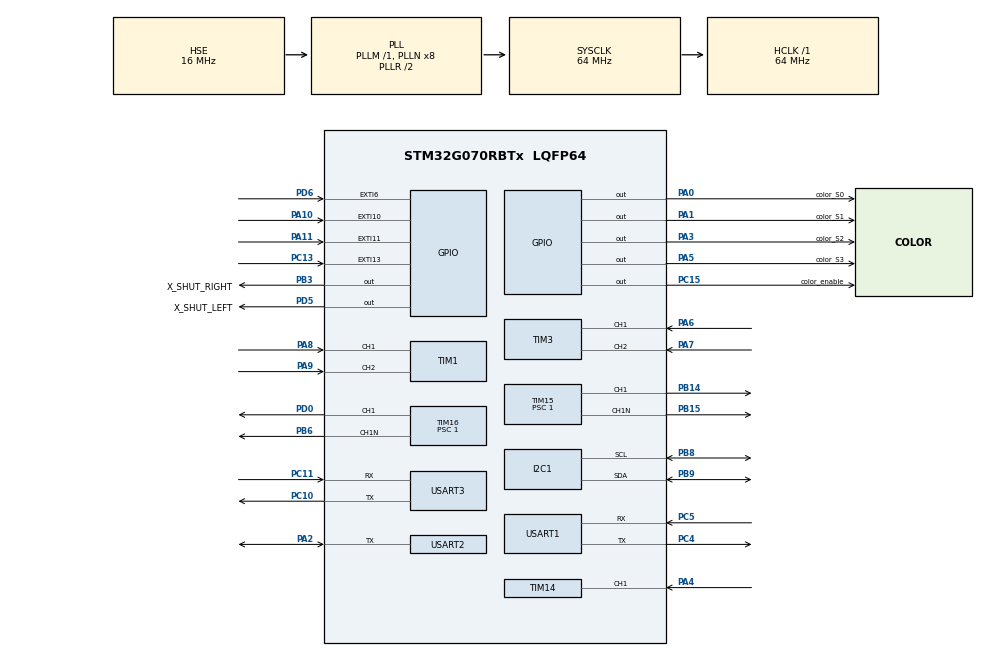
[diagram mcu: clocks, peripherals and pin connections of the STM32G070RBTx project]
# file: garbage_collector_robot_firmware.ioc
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FREERTOS.Tasks01=defaultTask,0,128,StartDefaultTask,Default,NULL,Dynamic,NULL,NULL
FREERTOS.configGENERATE_RUN_TIME_STATS=1
FREERTOS.configTOTAL_HEAP_SIZE=16384
FREERTOS.configUSE_STATS_FORMATTING_FUNCTIONS=1
FREERTOS.configUSE_TIMERS=0
FREERTOS.configUSE_TRACE_FACILITY=1
I2C1.Timing=0x10707DBC
Mcu.Family=STM32G0
Mcu.Name=STM32G070RBTx
Mcu.Package=LQFP64
NVIC.EXTI4_15_IRQn=true\:3\:0\:true\:false\:true\:true\:true\:true\:true
NVIC.TIM14_IRQn=true\:3\:0\:true\:false\:true\:false\:true\:true\:true
NVIC.TIM17_IRQn=true\:3\:0\:false\:false\:true\:true\:true\:true\:true
NVIC.TIM6_IRQn=true\:0\:0\:true\:false\:true\:false\:false\:true\:true
NVIC.TIM7_IRQn=true\:3\:0\:false\:false\:true\:true\:true\:true\:true
NVIC.TimeBase=TIM6_IRQn
NVIC.TimeBaseIP=TIM6
NVIC.USART1_IRQn=true\:3\:0\:false\:false\:true\:true\:true\:true\:true
NVIC.USART2_IRQn=true\:3\:0\:false\:false\:true\:true\:true\:true\:true
PA0.GPIO_Label=color_S0
PA0.Signal=GPIO_Output
PA1.GPIO_Label=color_S1
PA1.Signal=GPIO_Output
PA10.GPIO_ModeDefaultEXTI=GPIO_MODE_IT_RISING_FALLING
PA10.GPIO_PuPd=GPIO_PULLUP
PA10.Signal=GPXTI10
PA11\ [PA9].GPIO_ModeDefaultEXTI=GPIO_MODE_IT_RISING_FALLING
PA11\ [PA9].GPIO_PuPd=GPIO_PULLUP
PA11\ [PA9].Signal=GPXTI11
PA13.Mode=Serial_Wire
PA13.Signal=SYS_SWDIO
PA14-BOOT0.Mode=Serial_Wire
PA14-BOOT0.Signal=SYS_SWCLK
PA2.Mode=Half_duplex(single_wire_mode)
PA2.Signal=USART2_TX
PA3.GPIO_Label=color_S2
PA3.Signal=GPIO_Output
PA4.Signal=S_TIM14_CH1
PA5.GPIO_Label=color_S3
PA5.Signal=GPIO_Output
PA6.Signal=S_TIM3_CH1
PA7.Signal=S_TIM3_CH2
PA8.Signal=S_TIM1_CH1
PA9.Signal=S_TIM1_CH2
PB14.Signal=S_TIM15_CH1
PB15.Mode=PWM Generation1 CH1 CH1N
PB15.Signal=TIM15_CH1N
PB3.GPIO_Label=X_SHUT_RIGHT
PB3.PinState=GPIO_PIN_RESET
PB3.Signal=GPIO_Output
PB6.Mode=PWM Generation1 CH1 CH1N
PB6.Signal=TIM16_CH1N
PB8.Mode=I2C
PB8.Signal=I2C1_SCL
PB9.Mode=I2C
PB9.Signal=I2C1_SDA
PC10.Mode=Asynchronous
PC10.Signal=USART3_TX
PC11.Mode=Asynchronous
PC11.Signal=USART3_RX
PC13.GPIO_ModeDefaultEXTI=GPIO_MODE_IT_RISING
PC13.GPIO_PuPd=GPIO_PULLDOWN
PC13.Signal=GPXTI13
PC15-OSC32_OUT\ (PC15).GPIO_Label=color_enable
PC15-OSC32_OUT\ (PC15).Signal=GPIO_Output
PC4.Mode=Asynchronous
PC4.Signal=USART1_TX
PC5.Mode=Asynchronous
PC5.Signal=USART1_RX
PD0.Signal=S_TIM16_CH1
PD5.GPIO_Label=X_SHUT_LEFT
PD5.Signal=GPIO_Output
PD6.GPIO_ModeDefaultEXTI=GPIO_MODE_IT_RISING
PD6.GPIO_PuPd=GPIO_NOPULL
PD6.Signal=GPXTI6
PF0-OSC_IN\ (PF0).Mode=HSE-External-Oscillator
PF0-OSC_IN\ (PF0).Signal=RCC_OSC_IN
PF1-OSC_OUT\ (PF1).Mode=HSE-External-Oscillator
PF1-OSC_OUT\ (PF1).Signal=RCC_OSC_OUT
ProjectManager.HeapSize=0x200
ProjectManager.StackSize=0x600
ProjectManager.TargetToolchain=STM32CubeIDE
RCC.ADCFreq_Value=64000000
RCC.AHBFreq_Value=64000000
RCC.CortexFreq_Value=64000000
RCC.EXTERNAL_CLOCK_VALUE=48000
RCC.HCLKFreq_Value=64000000
RCC.HSE_VALUE=16000000
RCC.HSI_VALUE=16000000
RCC.LSE_VALUE=32768
RCC.PLLSourceVirtual=RCC_PLLSOURCE_HSE
RCC.SYSCLKFreq_VALUE=64000000
RCC.SYSCLKSource=RCC_SYSCLKSOURCE_PLLCLK
RCC.VCOOutputFreq_Value=128000000
SH.S_TIM14_CH1.0=TIM14_CH1,Input_Capture1_from_TI1
SH.S_TIM15_CH1.0=TIM15_CH1,PWM Generation1 CH1 CH1N
SH.S_TIM16_CH1.0=TIM16_CH1,PWM Generation1 CH1 CH1N
SH.S_TIM1_CH1.0=TIM1_CH1,Encoder_Interface
SH.S_TIM1_CH2.0=TIM1_CH2,Encoder_Interface
SH.S_TIM3_CH1.0=TIM3_CH1,Encoder_Interface
SH.S_TIM3_CH2.0=TIM3_CH2,Encoder_Interface
TIM1.EncoderMode=TIM_ENCODERMODE_TI12
TIM14.Channel=TIM_CHANNEL_1
TIM14.Period=64000-1
TIM14.Prescaler=100-1
TIM15.AutoReloadPreload=TIM_AUTORELOAD_PRELOAD_ENABLE
TIM15.Channel-PWM\ Generation1\ CH1\ CH1N=TIM_CHANNEL_1
TIM15.Period=1499
TIM15.Prescaler=1
TIM16.AutoReloadPreload=TIM_AUTORELOAD_PRELOAD_ENABLE
TIM16.Channel=TIM_CHANNEL_1
TIM16.Period=1499
TIM16.Prescaler=1
TIM17.Period=20000
TIM17.Prescaler=1000
TIM3.EncoderMode=TIM_ENCODERMODE_TI12
TIM7.Period=5000
TIM7.Prescaler=64
USART1.SwapParam=ADVFEATURE_SWAP_ENABLE
USART1.VirtualMode-Asynchronous=VM_ASYNC
USART2.BaudRate=1000000
USART2.VirtualMode-Half_duplex(single_wire_mode)=VM_ASYNC
USART3.VirtualMode-Asynchronous=VM_ASYNC
VP_FREERTOS_VS_CMSIS_V1.Mode=CMSIS_V1
VP_SYS_VS_tim6.Mode=TIM6
VP_TIM14_VS_ClockSourceINT.Mode=Enable_Timer
VP_TIM15_VS_ClockSourceINT.Mode=Internal
VP_TIM16_VS_ClockSourceINT.Mode=Enable_Timer
VP_TIM17_VS_ClockSourceINT.Mode=Enable_Timer
VP_TIM7_VS_ClockSourceINT.Mode=Enable_Timer
board=custom

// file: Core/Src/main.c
/* USER CODE BEGIN Header */
/**
 ******************************************************************************
 * @file           : main.c
 * @brief          : Main program body
 ******************************************************************************
 * @attention
 *
 * Copyright (c) 2022 STMicroelectronics.
 * All rights reserved.
 *
 * This software is licensed under terms that can be found in the LICENSE file
 * in the root directory of this software component.
 * If no LICENSE file comes with this software, it is provided AS-IS.
 *
 ******************************************************************************
 */
/* USER CODE END Header */
#include "main.h"
#include "cmsis_os.h"
#include "i2c.h"
#include "tim.h"
#include "usart.h"
#include "gpio.h"

/* USER CODE BEGIN Includes */
#include <stdio.h>
#include <stdlib.h>
#include "uart_drv.h"
#include "shell.h"
#include "FreeRTOS.h"
#include "zxbm_driver.h"
#include "drv_timer.h"
#include "xl320_driver.h"
#include "control_loop.h"
#include "robot.h"
#include "Capteur_TOF.h"
#include <vl53l0x_api.h>
#include "color_sensor.h"
/* USER CODE END Includes */

/* USER CODE BEGIN PD */
#define STACK_DEPTH					500
/* USER CODE END PD */

/* USER CODE BEGIN PV */
h_shell_t g_shell;

h_zxbm_t g_rightMotor;
h_zxbm_t g_leftMotor;

h_speedControlLoop_t g_rightControlLoop;
h_speedControlLoop_t g_leftControlLoop;

h_robot_t robot;

XL320_t xl320;

h_color_sensor_t color_sensor1;

/******************************************************************************/
VL53L0X_RangingMeasurementData_t rightTofStruct;		    //C'est une structure avec des mesures.
VL53L0X_Dev_t  rightTofDev; 							//C'est la structure de l'appareil. 						//C'est un pointeur vers la structure d'avant.

VL53L0X_RangingMeasurementData_t leftTofStruct;		    //C'est une structure avec des mesures.
VL53L0X_Dev_t  leftTofDev; 							//C'est la structure de l'appareil. 						//C'est un pointeur vers la structure d'avant.

//uint8_t Message[64];
//uint8_t MessageLen;

// VL53L0X initialization stuff
// besoin de quelques variables d'assistance pour l'initialisation
uint32_t rightRefSpadCount;
uint8_t rightIsApertureSpads;
uint8_t rightVhvSettings;
uint8_t rightPhaseCal;

uint32_t leftRefSpadCount;
uint8_t leftIsApertureSpads;
uint8_t leftVhvSettings;
uint8_t leftPhaseCal;

//uint16_t distance=0;
VL53L0X_Error rightError2;
VL53L0X_Error leftError2;

int leftDist =0, rightDist = 0;
/* USER CODE END PV */

void SystemClock_Config(void);
void MX_FREERTOS_Init(void);
/* USER CODE BEGIN PFP */
int __io_putchar(int ch) {
	HAL_UART_Transmit(&huart1, (uint8_t *)&ch, 1, HAL_MAX_DELAY);
	HAL_UART_Transmit(&huart3, (uint8_t *)&ch, 1, HAL_MAX_DELAY);
	return ch;
}

int __io_getchar(void){
	uint8_t ch = 0;

	/* Clear the Overrun flag just before receiving the first character */
	__HAL_UART_CLEAR_OREFLAG(&huart1);

	/* Wait for reception of a character on the USART RX line and echo this
	 * character on console */
	HAL_UART_Receive(&huart1, (uint8_t *)&ch, 1, HAL_MAX_DELAY);
	HAL_UART_Transmit(&huart1, (uint8_t *)&ch, 1, HAL_MAX_DELAY);
	return ch;
}

static void tofTask(void * unused){
	while(1){
		robot.leftDist = vl53l0x_PerformRangingMeasurement(&rightTofDev,&rightTofStruct);
		robot.rightDist = vl53l0x_PerformRangingMeasurement(&leftTofDev,&leftTofStruct);

		//printf("%d\t %d\r\n", vl53l0x_PerformRangingMeasurement(&rightTofDev,&rightTofStruct), vl53l0x_PerformRangingMeasurement(&leftTofDev,&leftTofStruct));
		vTaskDelay(5);
	}
}

static void syncTask(void * unused){

	xl320_init(&xl320, 1, BR_1M);
	xl320_setSpeed(&xl320, 20);
	xl320_torqueEnable(&xl320);
	xl320_setGoalPosition(&xl320, 69);

	while(robot.waitForStart){
		robot_stop(&robot);
		vTaskDelay(2000);
	}

	while(1){

		switch (robot.state){
		case search :

			/*
			zxbm_run(robot.leftMotor->motor, zxbm_backward);
			zxbm_run(robot.rightMotor->motor, zxbm_forward);
			while(leftDist > 1200 || rightDist > 1200){

				leftDist = vl53l0x_PerformRangingMeasurement(&rightTofDev,&rightTofStruct);
				rightDist = vl53l0x_PerformRangingMeasurement(&leftTofDev,&leftTofStruct);
			}

			 */

			zxbm_run(robot.leftMotor->motor, zxbm_forward);
			zxbm_run(robot.rightMotor->motor, zxbm_forward);

			robot.leftSpeedCommand = 8;
			robot.rightSpeedCommand = 8;
			if( robot.leftDist < 1200 || robot.rightDist < 1200){
				//robot_stop(&robot);
				robot.state = targetLocked;
			}
			break;

		case targetLocked :
			if(robot.leftDist > 230 && robot.rightDist > 230 && robot.leftDist < 1200 && robot.rightDist < 1200){
				if(robot.leftDist - robot.rightDist > 20){
					zxbm_run(robot.leftMotor->motor, zxbm_forward);
					zxbm_run(robot.rightMotor->motor, zxbm_forward);

					robot.leftSpeedCommand = 5;
					robot.rightSpeedCommand = 5+3;
				}else if(robot.leftDist - robot.rightDist < -20){
					zxbm_run(robot.leftMotor->motor, zxbm_forward);
					zxbm_run(robot.rightMotor->motor, zxbm_forward);

					robot.leftSpeedCommand = 5+3;
					robot.rightSpeedCommand = 5;
				}else{

					robot.leftSpeedCommand = 5;
					robot.rightSpeedCommand = 5;
				}
			}else if(robot.leftDist < 250 && robot.rightDist < 250){
				robot.state = capture;
			}else{
				robot.state = search;
			}
			break;

		case capture :

			xl320_setGoalPosition(&xl320, 0);
			if(robot.leftDist > 50 && robot.rightDist > 50){
				if(robot.leftDist - robot.rightDist > 20){
					zxbm_run(robot.leftMotor->motor, zxbm_forward);
					zxbm_run(robot.rightMotor->motor, zxbm_forward);

					robot.leftSpeedCommand = 3;
					robot.rightSpeedCommand = 3+2;
				}else if(robot.leftDist - robot.rightDist < -20){
					zxbm_run(robot.leftMotor->motor, zxbm_forward);
					zxbm_run(robot.rightMotor->motor, zxbm_forward);

					robot.leftSpeedCommand = 3+2;
					robot.rightSpeedCommand = 3;
				}else{

					robot.leftSpeedCommand = 3;
					robot.rightSpeedCommand = 3;
				}
			}else{
				robot.state = loaded;
			}
			break;
		case loaded :
			xl320_setGoalPosition(&xl320, 69);
			vTaskDelay(500);
			robot.state = color;

		case color :
			//colorSetPhotodiodeType(&color_sensor1, GREEN);
			//colorEnable(&color_sensor1);
			//vTaskDelay(1);
			//colorDisable(&color_sensor1);
			robot.state = locked;
			break;
		case locked :
			while(robot.leftDist < 50 && robot.rightDist < 50){
				robot_stop(&robot);
				//robot.leftDist = vl53l0x_PerformRangingMeasurement(&rightTofDev,&rightTofStruct);
				//robot.rightDist = vl53l0x_PerformRangingMeasurement(&leftTofDev,&leftTofStruct);
				vTaskDelay(20);
			}
			vTaskDelay(1000);
			robot.state = search;
			break;
		default :
			robot_stop(&robot);
		}
		//robot_stop(&robot);
		robot_borderAvoidance(&robot);

		//printf("%d\r\n", robot.state);
		vTaskDelay(5);
	}
}

/* USER CODE END PFP */

/* USER CODE BEGIN 0 */

void HAL_GPIO_EXTI_Rising_Callback(uint16_t GPIO_Pin){
	if(GPIO_Pin == GPIO_PIN_10){
		robot.leftBorderDetectedFlag = 1;
		robot_stop(&robot);
	}else if(GPIO_Pin == GPIO_PIN_11){
		robot.rightBorderDetectedFlag = 1;
		robot_stop(&robot);
	}else if(GPIO_Pin == GPIO_PIN_13){
		robot.waitForStart = 0;
	}
}

void HAL_GPIO_EXTI_Falling_Callback(uint16_t GPIO_Pin){
	if(GPIO_Pin == GPIO_PIN_10){
		robot.leftBorderDetectedFlag = 0;
		robot_stop(&robot);
	}else if(GPIO_Pin == GPIO_PIN_11){
		robot.rightBorderDetectedFlag = 0;
		robot_stop(&robot);
	}

}
/* USER CODE END 0 */

int main(void)
{

	/* MCU Configuration--------------------------------------------------------*/

	/* Reset of all peripherals, Initializes the Flash interface and the Systick. */
	HAL_Init();

	/* Configure the system clock */
	SystemClock_Config();

	/* Initialize all configured peripherals */
	MX_GPIO_Init();
	MX_TIM1_Init();
	MX_TIM3_Init();
	MX_TIM15_Init();
	MX_TIM16_Init();
	MX_USART1_UART_Init();
	MX_USART2_UART_Init();
	MX_TIM7_Init();
	MX_TIM17_Init();
	MX_I2C1_Init();
	MX_USART3_UART_Init();
	MX_TIM14_Init();
	/* USER CODE BEGIN 2 */
	xl320.serial.transmit = uart_half_duplex_transmit;
	xl320.serial.receive  = uart_half_duplex_receive;
	/* CONTROL LOOP INIT BEGIN */
	g_rightControlLoop.encoder.getCounter = getRightEncoderCounter;
	g_rightControlLoop.encoder.isCountingDown = isRightEncoderCountingDown;

	g_leftControlLoop.encoder.getCounter = getLeftEncoderCounter;
	g_leftControlLoop.encoder.isCountingDown= isLeftEncoderCountingDown;

	HAL_TIM_Encoder_Start(&htim1, TIM_CHANNEL_ALL);
	HAL_TIM_Encoder_Start(&htim3, TIM_CHANNEL_ALL);

	g_rightMotor.timer.startPWM 		= 	startRightPWM;
	g_rightMotor.timer.startPWMN 		= 	startRightPWMN;
	g_rightMotor.timer.stopPWM 			=	stopRightPWM;
	g_rightMotor.timer.stopPWMN 		= 	stopRightPWMN;
	g_rightMotor.timer.setDutyCycle 	= 	setRightDutyCycle;
	g_rightMotor.isReversed 			= 	noReversed;

	g_leftMotor.timer.startPWM			= 	startLeftPWM;
	g_leftMotor.timer.startPWMN			=	startLeftPWMN;
	g_leftMotor.timer.stopPWM			=	stopLeftPWM;
	g_leftMotor.timer.stopPWMN			=	stopLeftPWMN;
	g_leftMotor.timer.setDutyCycle		=	setLeftDutyCycle;
	g_leftMotor.isReversed 				= 	reversed;

	speedControlLoop_init(&g_rightControlLoop, &g_rightMotor, 15, 3, 80, 0);
	speedControlLoop_init(&g_leftControlLoop, &g_leftMotor, 15, 3, 80, -15);

	robot_initStruct(&robot, &g_leftControlLoop, &g_rightControlLoop);

	zxbm_run(robot.leftMotor->motor, zxbm_forward);
	zxbm_run(robot.rightMotor->motor, zxbm_forward);

	/*************************************************************/
	printf("--- TOF--- \r\n");
	//TOF 1
	HAL_GPIO_WritePin(X_SHUT_RIGHT_GPIO_Port, X_SHUT_RIGHT_Pin, GPIO_PIN_RESET);
	HAL_GPIO_WritePin(X_SHUT_LEFT_GPIO_Port, X_SHUT_LEFT_Pin, GPIO_PIN_RESET);

	leftTofInitInterrupt();
	rightTofInitInterrupt();

	leftError2=VL53L0X_StartMeasurement(&leftTofDev);
	rightError2=VL53L0X_StartMeasurement(&rightTofDev);
	printf("error start measurement : %d\r\n",rightError2);
	/************************************************************/

	setvbuf(stdin, NULL, _IONBF, 0);

	//colorSensorInit(&color_sensor1, GREEN,CENT_POUR_CENT,SENSOR_DISABLE);
	//colorHandleCalibrationSensor(&color_sensor1);

	/************************************************************/
	HAL_TIM_Base_Start_IT(&htim7);
	HAL_TIM_Base_Start_IT(&htim17);

	//robot_addVirtualBorder(&robot, xType, inferior, 600);
	//robot_addVirtualBorder(&robot, xType, superior, 0);

	TaskHandle_t syncTaskHandler = NULL;

	if(pdTRUE != xTaskCreate(syncTask, "syncTask", STACK_DEPTH, (void*) NULL, SHELL_TASK_PRIORITY + 3, &syncTaskHandler)) {
		printf("Control loop task failed");
		while(1);
	}

	TaskHandle_t tofTaskHandler = NULL;

	if(pdTRUE != xTaskCreate(tofTask, "tofTask", STACK_DEPTH, (void*) NULL, SHELL_TASK_PRIORITY + 2, &tofTaskHandler)) {
		printf("TOF loop task failed");
		while(1);
	}

	drv_uart_init();
	g_shell.uart.receive = drv_uart_receive;
	g_shell.uart.transmit = drv_uart_transmit;
	sh_init(&g_shell);
	sh_start(&g_shell);

	vTaskStartScheduler();
	/* USER CODE END 2 */

	/* Call init function for freertos objects (in freertos.c) */
	MX_FREERTOS_Init();

	/* Start scheduler */
	osKernelStart();

	/* We should never get here as control is now taken by the scheduler */
	/* Infinite loop */
	while (1)
	{

	}
}

void SystemClock_Config(void)
{
	RCC_OscInitTypeDef RCC_OscInitStruct = {0};
	RCC_ClkInitTypeDef RCC_ClkInitStruct = {0};

	/** Configure the main internal regulator output voltage
	 */
	HAL_PWREx_ControlVoltageScaling(PWR_REGULATOR_VOLTAGE_SCALE1);

	/** Initializes the RCC Oscillators according to the specified parameters
	 * in the RCC_OscInitTypeDef structure.
	 */
	RCC_OscInitStruct.OscillatorType = RCC_OSCILLATORTYPE_HSE;
	RCC_OscInitStruct.HSEState = RCC_HSE_ON;
	RCC_OscInitStruct.PLL.PLLState = RCC_PLL_ON;
	RCC_OscInitStruct.PLL.PLLSource = RCC_PLLSOURCE_HSE;
	RCC_OscInitStruct.PLL.PLLM = RCC_PLLM_DIV1;
	RCC_OscInitStruct.PLL.PLLN = 8;
	RCC_OscInitStruct.PLL.PLLP = RCC_PLLP_DIV2;
	RCC_OscInitStruct.PLL.PLLR = RCC_PLLR_DIV2;
	if (HAL_RCC_OscConfig(&RCC_OscInitStruct) != HAL_OK)
	{
		Error_Handler();
	}

	/** Initializes the CPU, AHB and APB buses clocks
	 */
	RCC_ClkInitStruct.ClockType = RCC_CLOCKTYPE_HCLK|RCC_CLOCKTYPE_SYSCLK
			|RCC_CLOCKTYPE_PCLK1;
	RCC_ClkInitStruct.SYSCLKSource = RCC_SYSCLKSOURCE_PLLCLK;
	RCC_ClkInitStruct.AHBCLKDivider = RCC_SYSCLK_DIV1;
	RCC_ClkInitStruct.APB1CLKDivider = RCC_HCLK_DIV1;

	if (HAL_RCC_ClockConfig(&RCC_ClkInitStruct, FLASH_LATENCY_2) != HAL_OK)
	{
		Error_Handler();
	}
}

void HAL_TIM_PeriodElapsedCallback(TIM_HandleTypeDef *htim)
{
	if (htim->Instance == TIM6) {
		HAL_IncTick();
	}
}

void Error_Handler(void)
{
	__disable_irq();
	while (1)
	{
	}
}

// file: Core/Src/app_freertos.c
/* USER CODE BEGIN Header */
/**
  ******************************************************************************
  * File Name          : app_freertos.c
  * Description        : Code for freertos applications
  ******************************************************************************
  * @attention
  *
  * Copyright (c) 2022 STMicroelectronics.
  * All rights reserved.
  *
  * This software is licensed under terms that can be found in the LICENSE file
  * in the root directory of this software component.
  * If no LICENSE file comes with this software, it is provided AS-IS.
  *
  ******************************************************************************
  */
/* USER CODE END Header */

#include "FreeRTOS.h"
#include "task.h"
#include "main.h"
#include "cmsis_os.h"

osThreadId defaultTaskHandle;

void StartDefaultTask(void const * argument);

void MX_FREERTOS_Init(void); /* (MISRA C 2004 rule 8.1) */

/* Hook prototypes */
void configureTimerForRunTimeStats(void);
unsigned long getRunTimeCounterValue(void);

/* USER CODE BEGIN 1 */
/* Functions needed when configGENERATE_RUN_TIME_STATS is on */
__weak void configureTimerForRunTimeStats(void)
{

}

__weak unsigned long getRunTimeCounterValue(void)
{
return 0;
}
/* USER CODE END 1 */

void MX_FREERTOS_Init(void) {

  /* Create the thread(s) */
  /* definition and creation of defaultTask */
  osThreadDef(defaultTask, StartDefaultTask, osPriorityNormal, 0, 128);
  defaultTaskHandle = osThreadCreate(osThread(defaultTask), NULL);

}

void StartDefaultTask(void const * argument)
{
  for(;;)
  {
    osDelay(1);
  }
}
